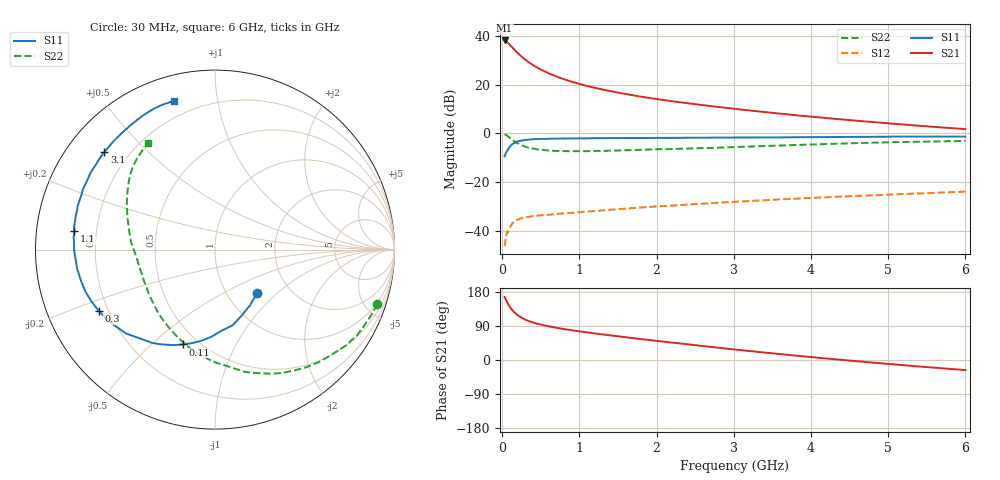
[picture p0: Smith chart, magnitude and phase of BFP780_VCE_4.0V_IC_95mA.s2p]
! Infineon Technologies  Discrete & RF Semiconductors
! BFP780
! VCE =  4.0 V,  IC =  95 mA
! Common Emitter S-Parameters:  Jul 2015
# GHz  S  MA  R  50
!  f  S11  S21  S12  S22
! GHz  MAG  ANG  MAG  ANG  MAG  ANG  MAG  ANG
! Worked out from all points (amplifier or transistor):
!   75 points, 30 MHz to 6 GHz, reference 50 ohm
!   highest |S21| = 38.2 dB at 30 MHz (marker M1)
!   |S21| within 3 dB of that: start of sweep to 133.5 MHz
!   unconditionally stable (mu >= 1): 1.696 GHz to end of sweep
!   at 150 MHz: K = 0.17, MSG = 35.6 dB, |S12| = -36.5 dB
!   at 2.3 GHz: K = 1.12, MAG = 19.0 dB, |S12| = -29.4 dB
!   at 6 GHz: K = 1.21, MAG = 10.1 dB, |S12| = -24.0 dB
!   S11 on the Smith chart (normalised r, x): 30 MHz: 1.38, -0.75; 110 MHz: 0.41, -0.63; 300 MHz: 0.16, -0.24; 1.1 GHz: 0.12, +0.06; 3.1 GHz: 0.11, +0.37; 6 GHz: 0.12, +0.76
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0.03  0.3367 -45.9  81.22 166.4  0.0048 80.7  0.9549 -18.6
0.05  0.3982 -68.5  77.68 157.5  0.0076 67.0  0.9246 -31.0
0.07  0.4544 -85.6  73.13 149.7  0.0091 56.5  0.8743 -42.0
0.09  0.5137 -98.5  68.1 142.7  0.0112 59.5  0.8297 -52.2
0.11  0.5588 -108.9  63.05 136.7  0.0125 51.3  0.7827 -61.3
0.13  0.5964 -117.3  58.32 131.5  0.0144 49.2  0.7372 -69.2
0.15  0.627 -124.1  53.92 127.1  0.015 44.3  0.6997 -76.5
0.2  0.6817 -136.8  44.72 118.1  0.0169 39.1  0.622 -91.6
0.25  0.7129 -145.7  37.85 111.5  0.018 34.9  0.5704 -103.5
0.3  0.7325 -152.3  32.5 106.3  0.0188 31.6  0.5309 -113.1
0.35  0.747 -157.4  28.42 102.2  0.0193 29.6  0.5035 -121.0
0.4  0.7572 -161.4  25.18 98.8  0.02 28.2  0.4851 -127.5
0.5  0.7674 -167.7  20.46 93.3  0.0207 26.3  0.4587 -137.7
0.6  0.776 -172.3  17.17 88.9  0.0212 26.1  0.4452 -145.5
0.8  0.7845 -179.5  12.96 81.7  0.0227 26.7  0.4324 -156.5
1.1  0.7906 172.6  9.413 72.8  0.0247 28.2  0.4308 -167.4
1.5  0.7987 164.5  6.868 62.6  0.0276 29.8  0.444 -176.8
2.1  0.8091 154.1  4.814 48.2  0.032 30.9  0.4725 173.3
3.1  0.8222 138.5  3.081 25.9  0.0398 29.2  0.5284 157.7
4.1  0.8368 124.6  2.134 5.9  0.0477 25.9  0.597 144.3
5.1  0.8559 113.4  1.563 -12.0  0.0558 20.7  0.6586 132.6
6  0.8587 105.3  1.223 -26.6  0.0634 15.0  0.6991 122.2
